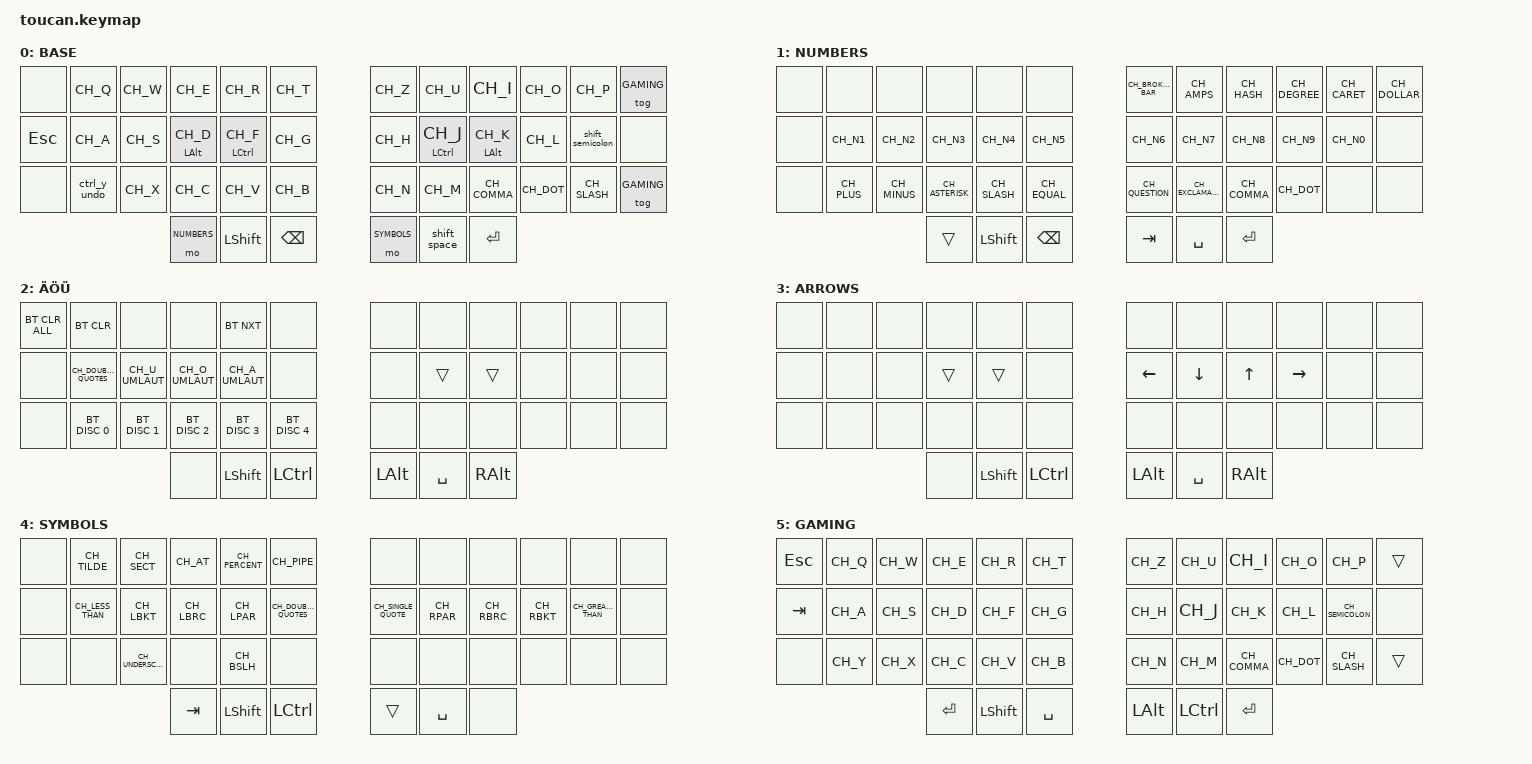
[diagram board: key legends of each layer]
#include <behaviors.dtsi>
#include <dt-bindings/zmk/keys.h>
#include <dt-bindings/zmk/bt.h>

#include "keys_de_swiss.h"

// Layer numbers

#define BASE        0
#define NUMBERS     1
#define AEOUE       2
#define ARROWS      3
#define SYMBOLS     4
#define GAMING      5


// Custom behaviors

&mt {
    tapping-term-ms = <200>;
};

/ {
    behaviors {

        /*
         * Home-row mods
         */

        hml: home_row_mod_left {
            compatible = "zmk,behavior-hold-tap";
            #binding-cells = <2>;

            flavor = "balanced";
            tapping-term-ms = <280>;
            quick-tap-ms = <175>;
            require-prior-idle-ms = <125>;

            bindings = <&kp>, <&kp>;

            hold-trigger-key-positions =
                <6 7 8 9 10 11
                 18 19 20 21 22 23
                 30 31 32 33 34 35
                 39 40 41>;

            hold-trigger-on-release;
        };

        hmr: home_row_mod_right {
            compatible = "zmk,behavior-hold-tap";
            #binding-cells = <2>;

            flavor = "balanced";
            tapping-term-ms = <280>;
            quick-tap-ms = <175>;
            require-prior-idle-ms = <125>;

            bindings = <&kp>, <&kp>;

            hold-trigger-key-positions =
                <0 1 2 3 4 5
                 12 13 14 15 16 17
                 24 25 26 27 28 29
                 36 37 38>;

            hold-trigger-on-release;
        };


        /*
         * Shift + Space -> Tab
         */

        shift_space: shift_space {
            compatible = "zmk,behavior-mod-morph";
            #binding-cells = <0>;

            bindings = <&kp SPACE>, <&kp TAB>;

            mods = <MOD_LSFT>;
        };


        /*
         * Shift + ; -> :
         */

        shift_semicolon: shift_semicolon {
            compatible = "zmk,behavior-mod-morph";
            #binding-cells = <0>;

            bindings = <&kp CH_SEMICOLON>, <&kp CH_COLON>;

            mods = <MOD_LSFT>;
        };


        /*
         * Ctrl + Y -> Ctrl + Z
         *
         * For now, use a simple mod-morph.
         *
         * The held Ctrl is preserved by the keyboard's modifier state,
         * so Ctrl+Y becomes Ctrl+Z.
         */

        ctrl_y_undo: ctrl_y_undo {
            compatible = "zmk,behavior-mod-morph";
            #binding-cells = <0>;

            bindings = <&kp CH_Y>, <&kp CH_Z>;

            mods = <MOD_LCTL>;
        };
    };


    /*
     * Combos
     */

    combos {

        compatible = "zmk,combos";

        combo_df_arrows {
            timeout-ms = <50>;
            key-positions = <15 16>;
            bindings = <&mo ARROWS>;
        };

        combo_jk_aeoue {
            timeout-ms = <50>;
            key-positions = <19 20>;
            bindings = <&mo AEOUE>;
        };

        combo_sd_gui {
            timeout-ms = <50>;
            key-positions = <14 15>;
            bindings = <&kp LGUI>;
        };

        combo_kl_gui {
            timeout-ms = <50>;
            key-positions = <20 21>;
            bindings = <&kp LGUI>;
        };
    };



    // Keymap

    keymap {
        compatible = "zmk,keymap";

        base {
            display-name = "BASE";
            bindings = <
                &none   &kp CH_Q &kp CH_W &kp CH_E &kp CH_R &kp CH_T        &kp CH_Z &kp CH_U &kp CH_I    &kp CH_O   &kp CH_P   &tog GAMING
                &kp ESC &kp CH_A &kp CH_S &hml LALT CH_D &hml LCTRL CH_F    &kp CH_G &kp CH_H &hmr LCTRL CH_J &hmr LALT CH_K &kp CH_L &shift_semicolon &none
                &none   &ctrl_y_undo &kp CH_X &kp CH_C &kp CH_V &kp CH_B    &kp CH_N &kp CH_M &kp CH_COMMA &kp CH_DOT &kp CH_SLASH &tog GAMING
                                      &mo NUMBERS &kp LSHIFT &kp BACKSPACE          &mo SYMBOLS &shift_space &kp ENTER
            >;
        };

        numbers {
            display-name = "NUMBERS";
            bindings = <
                &none  &none &none &none &none &none                                    &kp CH_BROKEN_BAR &kp CH_AMPS &kp CH_HASH &kp CH_DEGREE &kp CH_CARET &kp CH_DOLLAR
                &none  &kp CH_N1 &kp CH_N2 &kp CH_N3 &kp CH_N4 &kp CH_N5                 &kp CH_N6 &kp CH_N7 &kp CH_N8 &kp CH_N9 &kp CH_N0 &none
                &none  &kp CH_PLUS &kp CH_MINUS &kp CH_ASTERISK &kp CH_SLASH &kp CH_EQUAL   &kp CH_QUESTION &kp CH_EXCLAMATION &kp CH_COMMA &kp CH_DOT &none &none
                                      &trans &kp LSHIFT &kp BACKSPACE                       &kp TAB &kp SPACE &kp ENTER
            >;
        };

        aeoue {
            display-name = "ÄÖÜ";
            bindings = <
                &bt BT_CLR_ALL  &bt BT_CLR &none &none &bt BT_NXT  &none                         &none &none &none &none &none &none
                &none  &kp CH_DOUBLE_QUOTES &kp CH_U_UMLAUT &kp CH_O_UMLAUT &kp CH_A_UMLAUT    &none &none &trans &trans &none &none &none
                &none  &bt BT_DISC 0 &bt BT_DISC 1 &bt BT_DISC 2 &bt BT_DISC 3 &bt BT_DISC 4     &none &none &none &none &none &none
                            &none &kp LSHIFT &kp LCTRL                          &kp LALT &kp SPACE &kp RALT
            >;
        };

        arrows {
            display-name = "ARROWS";
            bindings = <
                &none  &none &none &none &none &none            &none &none &none &none &none &none
                &none  &none &none &trans &trans &none        &kp LEFT &kp DOWN &kp UP &kp RIGHT &none &none
                &none  &none &none &none &none &none            &none &none &none &none &none &none
                            &none &kp LSHIFT &kp LCTRL              &kp LALT &kp SPACE &kp RALT
            >;
        };

        symbols {
            display-name = "SYMBOLS";
            bindings = <
                &none  &kp CH_TILDE &kp CH_SECT &kp CH_AT &kp CH_PERCENT &kp CH_PIPE    &none &none &none &none &none &none
                &none  &kp CH_LESS_THAN &kp CH_LBKT &kp CH_LBRC &kp CH_LPAR &kp CH_DOUBLE_QUOTES    &kp CH_SINGLE_QUOTE &kp CH_RPAR &kp CH_RBRC &kp CH_RBKT &kp CH_GREATER_THAN &none
                &none  &none &kp CH_UNDERSCORE &none &kp CH_BSLH &none                       &none &none &none &none &none &none
                                &kp TAB &kp LSHIFT &kp LCTRL                                  &trans &kp SPACE &none
            >;
        };

        gaming {
            display-name = "GAMING";
            bindings = <
                &kp ESC &kp CH_Q &kp CH_W &kp CH_E &kp CH_R &kp CH_T   &kp CH_Z &kp CH_U &kp CH_I &kp CH_O &kp CH_P &trans
                &kp TAB &kp CH_A &kp CH_S &kp CH_D &kp CH_F &kp CH_G   &kp CH_H &kp CH_J &kp CH_K &kp CH_L &kp CH_SEMICOLON &none
                &none &kp CH_Y &kp CH_X &kp CH_C &kp CH_V &kp CH_B     &kp CH_N &kp CH_M &kp CH_COMMA &kp CH_DOT &kp CH_SLASH &trans
                                &kp ENTER &kp LSHIFT &kp SPACE            &kp LALT &kp LCTRL &kp ENTER
            >;
        };
    };
};
